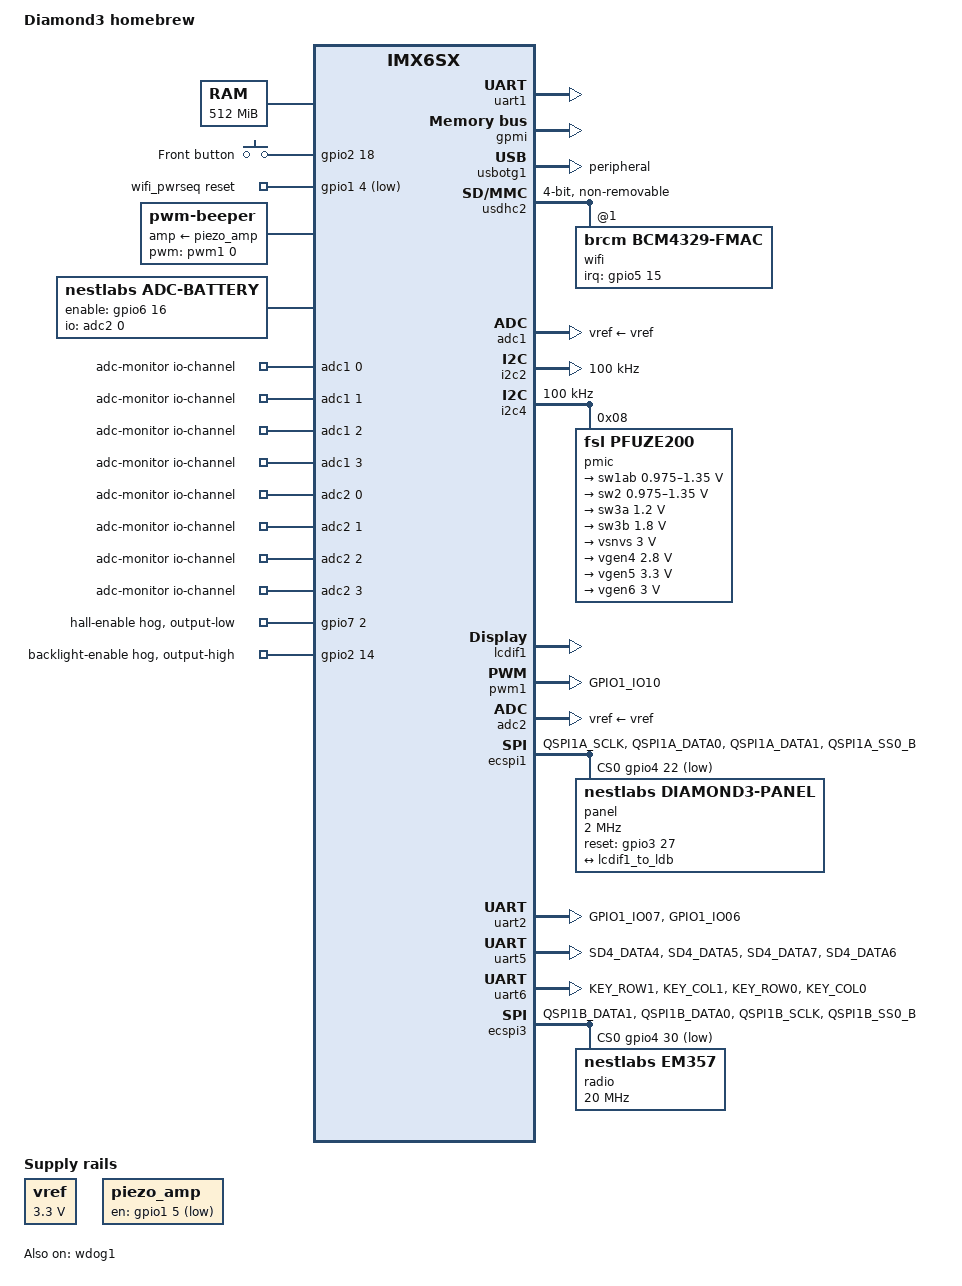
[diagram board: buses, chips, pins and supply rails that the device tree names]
/dts-v1/;
#include "nxp/imx/imx6sx.dtsi"
/ {
 model = "Diamond3 homebrew";
 compatible = "nestlabs,diamond3-dvt", "fsl,imx6sx";
 memory@80000000 { device_type = "memory"; reg = <0x80000000 0x20000000>; };
 chosen { stdout-path = &uart1; };
};
&uart1 { status = "okay"; };
&gpmi { status = "okay"; nand-on-flash-bbt; };
&usbotg1 { dr_mode = "peripheral"; status = "okay"; };

&iomuxc {
 pin_uart1: uart1-grp { fsl,pins = <0x94 0x3dc 0x830 0x03 0x02 0x1b0b1 0x98 0x3e0 0x00 0x03 0x00 0x1b0b1>; };
 pin_sdio: sdio-grp { fsl,pins = <0x23c 0x584 0x00 0x00 0x00 0x17059 0x238 0x580 0x00 0x00 0x00 0x10059 0x240 0x588 0x00 0x00 0x00 0x17059 0x244 0x58c 0x00 0x00 0x00 0x17059 0x248 0x590 0x00 0x00 0x00 0x17059 0x24c 0x594 0x00 0x00 0x00 0x17059>; };
 pin_i2c2: i2c2-grp { fsl,pins = <0x20 0x368 0x7b4 0x00 0x01 0x4001b8b1 0x1c 0x364 0x7b0 0x00 0x01 0x4001b8b1>; };
 pin_i2c4: i2c4-grp { fsl,pins = <0x2a4 0x5ec 0x7c4 0x03 0x01 0x4001b8b1 0x2a8 0x5f0 0x7c0 0x03 0x01 0x4001b8b1>; };
 pin_lcddata: lcddata-grp { fsl,pins = <0xd0 0x418 0x00 0x00 0x00 0x4001b0b0 0xd4 0x41c 0x00 0x00 0x00 0x4001b0b0 0xd8 0x420 0x00 0x00 0x00 0x4001b0b0 0xdc 0x424 0x00 0x00 0x00 0x4001b0b0 0xe0 0x428 0x00 0x00 0x00 0x4001b0b0 0xe4 0x42c 0x00 0x00 0x00 0x4001b0b0 0xe8 0x430 0x00 0x00 0x00 0x4001b0b0 0xec 0x434 0x00 0x00 0x00 0x4001b0b0 0xf0 0x438 0x00 0x00 0x00 0x4001b0b0 0xf4 0x43c 0x00 0x00 0x00 0x4001b0b0 0xf8 0x440 0x00 0x00 0x00 0x4001b0b0 0xfc 0x444 0x00 0x00 0x00 0x4001b0b0 0x100 0x448 0x00 0x00 0x00 0x4001b0b0 0x104 0x44c 0x00 0x00 0x00 0x4001b0b0 0x108 0x450 0x00 0x00 0x00 0x4001b0b0 0x10c 0x454 0x00 0x00 0x00 0x4001b0b0 0x110 0x458 0x00 0x00 0x00 0x4001b0b0 0x114 0x45c 0x00 0x00 0x00 0x4001b0b0 0x118 0x460 0x00 0x00 0x00 0x4001b0b0 0x11c 0x464 0x00 0x00 0x00 0x4001b0b0 0x120 0x468 0x00 0x00 0x00 0x4001b0b0 0x124 0x46c 0x00 0x00 0x00 0x4001b0b0 0x128 0x470 0x00 0x00 0x00 0x4001b0b0 0x12c 0x474 0x00 0x00 0x00 0x4001b0b0>; };
 pin_lcdctrl: lcdctrl-grp { fsl,pins = <0xcc 0x414 0x00 0x00 0x00 0x4001b0b0 0x130 0x478 0x00 0x00 0x00 0x4001b0b0 0x13c 0x484 0x00 0x00 0x00 0x4001b0b0 0x134 0x47c 0x7e0 0x00 0x00 0x4001b0b0 0x138 0x480 0x00 0x05 0x00 0x1b0b0>; };
};

&uart1 { pinctrl-names = "default"; pinctrl-0 = <&pin_uart1>; };
/ {
 keys { compatible = "gpio-keys";
  front { label = "Front button"; gpios = <&gpio2 18 0>; linux,code = <28>; };
 };
 wifi_pwrseq: wifi-pwrseq { compatible = "mmc-pwrseq-simple"; reset-gpios = <&gpio1 4 1>; post-power-on-delay-ms = <200>; };
 vref: regulator-vref { compatible = "regulator-fixed"; regulator-name = "adc-vref"; regulator-min-microvolt = <3300000>; regulator-max-microvolt = <3300000>; regulator-always-on; };

};
&usdhc2 { pinctrl-names = "default"; pinctrl-0 = <&pin_sdio>; bus-width = <4>; non-removable; mmc-pwrseq = <&wifi_pwrseq>; status = "okay";
 #address-cells = <1>; #size-cells = <0>;
 wifi@1 { reg = <1>; compatible = "brcm,bcm4329-fmac"; interrupt-parent = <&gpio5>; interrupts = <15 4>; interrupt-names = "host-wake"; };
};
&adc1 { vref-supply = <&vref>; status = "okay"; };
&gpio7 { hall-enable { gpio-hog; gpios = <2 0>; output-low; line-name = "hall-enable"; }; };
&i2c2 { pinctrl-names = "default"; pinctrl-0 = <&pin_i2c2>; clock-frequency = <100000>; status = "okay"; };
&i2c4 { pinctrl-names = "default"; pinctrl-0 = <&pin_i2c4>; clock-frequency = <100000>; status = "okay";
 pmic@8 { compatible = "fsl,pfuze200"; reg = <8>;
  regulators {
   sw1ab { regulator-min-microvolt = <975000>; regulator-max-microvolt = <1350000>;
    regulator-boot-on; regulator-always-on; regulator-ramp-delay = <6250>; };
   sw2 { regulator-min-microvolt = <975000>; regulator-max-microvolt = <1350000>;
    regulator-boot-on; regulator-always-on; regulator-ramp-delay = <6250>; };
   sw3a { regulator-min-microvolt = <1200000>; regulator-max-microvolt = <1200000>;
    regulator-boot-on; regulator-always-on; };
   sw3b { regulator-min-microvolt = <1800000>; regulator-max-microvolt = <1800000>;
    regulator-boot-on; regulator-always-on; };
   vsnvs { regulator-min-microvolt = <3000000>; regulator-max-microvolt = <3000000>;
    regulator-boot-on; regulator-always-on; };
   vrefddr { regulator-boot-on; regulator-always-on; };
   vgen4 { regulator-min-microvolt = <2800000>; regulator-max-microvolt = <2800000>;
    regulator-always-on; };
   vgen5 { regulator-min-microvolt = <3300000>; regulator-max-microvolt = <3300000>;
    regulator-always-on; };
   vgen6 { regulator-min-microvolt = <3000000>; regulator-max-microvolt = <3000000>;
    regulator-always-on; };
  };
 };
};
&lcdif1 { pinctrl-names = "default"; pinctrl-0 = <&pin_lcddata &pin_lcdctrl>; status = "okay"; };
&lcdif1_to_ldb { remote-endpoint = <&panel_in>; };
&gpmi {
 fsl,legacy-bch-geometry;
 partitions { compatible = "fixed-partitions"; #address-cells = <1>; #size-cells = <1>;
  partition@0 { label = "u-boot"; reg = <0 0x400000>; read-only; };
  partition@400000 { label = "ubipart"; reg = <0x400000 0x1fc00000>; };
 };
};

&iomuxc {
 pin_panel: panel-grp { fsl,pins = <
  MX6SX_PAD_QSPI1A_SCLK__ECSPI1_SCLK 0x100b1
  MX6SX_PAD_QSPI1A_DATA0__ECSPI1_MOSI 0x100b1
  MX6SX_PAD_QSPI1A_DATA1__ECSPI1_MISO 0x100b1
  MX6SX_PAD_QSPI1A_SS0_B__GPIO4_IO_22 0x100b1
 >; };
};
&gpio2 { backlight-enable { gpio-hog; gpios = <14 0>; output-high; line-name = "backlight-enable"; }; };
&iomuxc {
 pinctrl-names = "default";
 pinctrl-0 = <&pin_board>;
 pin_board: board-grp { fsl,pins = <
  MX6SX_PAD_KEY_COL4__GPIO2_IO_14 0x1b0b0
  MX6SX_PAD_KEY_ROW3__GPIO2_IO_18 0x1b0b0
  MX6SX_PAD_GPIO1_IO04__GPIO1_IO_4 0x1b0b0
  MX6SX_PAD_SD3_DATA0__GPIO7_IO_2 0x1b0b0
 >; };
};
&wdog1 { status = "okay"; };
/ {
 piezo_amp: regulator-piezo {
  compatible = "regulator-fixed";
  regulator-name = "piezo-amplifier";
  gpio = <&gpio1 5 GPIO_ACTIVE_LOW>;
  pinctrl-names = "default";
  pinctrl-0 = <&pin_piezo_enable>;
 };
 beeper {
  compatible = "pwm-beeper";
  pwms = <&pwm1 0 1000000 0>;
  amp-supply = <&piezo_amp>;
  beeper-hz = <2000>;
 };
};
&pwm1 { pinctrl-names = "default"; pinctrl-0 = <&pin_piezo_pwm>; status = "okay"; };
&iomuxc {
 pin_piezo_enable: piezo-enable-grp { fsl,pins = <MX6SX_PAD_GPIO1_IO05__GPIO1_IO_5 0x110b0>; };
 pin_piezo_pwm: piezo-pwm-grp { fsl,pins = <MX6SX_PAD_GPIO1_IO10__PWM1_OUT 0x110b0>; };
};

&adc2 { vref-supply = <&vref>; status = "okay"; };
/ {
 battery {
  compatible = "nestlabs,adc-battery";
  io-channels = <&adc2 0>; io-channel-names = "voltage";
  divider-r1-ohm = <100000>; divider-r2-ohm = <301000>;
  enable-gpios = <&gpio6 16 GPIO_ACTIVE_HIGH>; delay-us = <100>;
  pinctrl-names = "default"; pinctrl-0 = <&pin_battery_adc>;
 };
 adc-monitor { compatible = "iio-hwmon";
  io-channels = <&adc1 0>, <&adc1 1>, <&adc1 2>, <&adc1 3>,
                <&adc2 0>, <&adc2 1>, <&adc2 2>, <&adc2 3>;
 };
};
&iomuxc {
 pin_battery_adc: battery-adc-grp { fsl,pins = <MX6SX_PAD_SD4_DATA2__GPIO6_IO_16 0x1b0b0>; };
};

&ecspi1 {
 status = "okay"; pinctrl-names = "default"; pinctrl-0 = <&pin_panel>;
 cs-gpios = <&gpio4 22 GPIO_ACTIVE_LOW>;
 /delete-property/ dmas; /delete-property/ dma-names;
 panel@0 { reg = <0>; spi-max-frequency = <2000000>; spi-cpol; spi-cpha; compatible = "nestlabs,diamond3-panel";
  nestlabs,panel-variant = <0>;
  reset-gpios = <&gpio3 27 0>;
  width-mm = <32>; height-mm = <43>;
  panel-timing { clock-frequency = <19700016>; hactive = <480>; vactive = <640>; hback-porch = <6>; hfront-porch = <6>; vback-porch = <6>; vfront-porch = <6>; hsync-len = <10>; vsync-len = <2>; hsync-active = <0>; vsync-active = <0>; de-active = <1>; pixelclk-active = <1>; };
  port { panel_in: endpoint { remote-endpoint = <&lcdif1_to_ldb>; }; };
 };
};

&uart2 {
 status = "okay"; pinctrl-names = "default"; pinctrl-0 = <&pin_uart2>;
 /delete-property/ dmas; /delete-property/ dma-names;
};
&uart5 {
 status = "okay"; pinctrl-names = "default"; pinctrl-0 = <&pin_uart5>; uart-has-rtscts;
 /delete-property/ dmas; /delete-property/ dma-names;
};
&uart6 {
 status = "okay"; pinctrl-names = "default"; pinctrl-0 = <&pin_uart6>;
 /delete-property/ dmas; /delete-property/ dma-names;
};
&ecspi3 {
 status = "okay"; pinctrl-names = "default"; pinctrl-0 = <&pin_ecspi3>;
 cs-gpios = <&gpio4 30 GPIO_ACTIVE_LOW>;
 /delete-property/ dmas; /delete-property/ dma-names;
 radio@0 { compatible = "nestlabs,em357"; reg = <0>; spi-max-frequency = <20000000>; };
};
/ {
 aliases { serial-sensormcu0 = &uart6; serial-ble0 = &uart5; };
 em35x-gpios {
  compatible = "nestlabs,gpio-exporter";
  output-names = "reset", "wake";
  output-gpios = <&gpio2 0 GPIO_ACTIVE_HIGH>, <&gpio2 5 GPIO_ACTIVE_HIGH>;
  input-names = "irq"; input-gpios = <&gpio2 4 GPIO_ACTIVE_HIGH>;
  pinctrl-names = "default"; pinctrl-0 = <&pin_radio_io>;
 };
 ble0-da14580-gpios {
  compatible = "nestlabs,gpio-exporter";
  output-names = "reset"; output-gpios = <&gpio5 16 GPIO_ACTIVE_HIGH>;
  pinctrl-names = "default"; pinctrl-0 = <&pin_ble_io>;
 };
 sensor-mcu-gpios {
  compatible = "nestlabs,gpio-exporter";
  output-names = "reset"; output-gpios = <&gpio5 14 GPIO_ACTIVE_HIGH>;
  input-names = "detect#"; input-gpios = <&gpio5 13 GPIO_ACTIVE_LOW>;
  pinctrl-names = "default"; pinctrl-0 = <&pin_backplate_io>;
 };
};
&iomuxc {
 pin_uart2: uart2-grp { fsl,pins = <
  MX6SX_PAD_GPIO1_IO07__UART2_DCE_RX 0x1b0b1
  MX6SX_PAD_GPIO1_IO06__UART2_DCE_TX 0x1b0b1
 >; };
 pin_uart5: uart5-grp { fsl,pins = <
  MX6SX_PAD_SD4_DATA4__UART5_DCE_RX 0x1b0b1
  MX6SX_PAD_SD4_DATA5__UART5_DCE_TX 0x1b0b1
  MX6SX_PAD_SD4_DATA7__UART5_DCE_CTS 0x1a0b1
  MX6SX_PAD_SD4_DATA6__UART5_DCE_RTS 0x1a0b1
 >; };
 pin_uart6: uart6-grp { fsl,pins = <
  MX6SX_PAD_KEY_ROW1__UART6_DCE_RX 0x1b0b1
  MX6SX_PAD_KEY_COL1__UART6_DCE_TX 0x1b0b1
  MX6SX_PAD_KEY_ROW0__UART6_DCE_CTS 0x1b0b1
  MX6SX_PAD_KEY_COL0__UART6_DCE_RTS 0x1b0b1
 >; };
 pin_ecspi3: ecspi3-grp { fsl,pins = <
  MX6SX_PAD_QSPI1B_DATA1__ECSPI3_MISO 0x100b1
  MX6SX_PAD_QSPI1B_DATA0__ECSPI3_MOSI 0x100b1
  MX6SX_PAD_QSPI1B_SCLK__ECSPI3_SCLK 0x100b1
  MX6SX_PAD_QSPI1B_SS0_B__GPIO4_IO_30 0xc0000000
 >; };
 pin_radio_io: radio-io-grp { fsl,pins = <
  MX6SX_PAD_ENET1_COL__GPIO2_IO_0 0xc0000000
  MX6SX_PAD_ENET1_RX_CLK__GPIO2_IO_4 0xc0000000
  MX6SX_PAD_ENET1_TX_CLK__GPIO2_IO_5 0xc0000000
 >; };
 pin_ble_io: ble-io-grp { fsl,pins = <MX6SX_PAD_RGMII2_RX_CTL__GPIO5_IO_16 0xc0000000>; };
 pin_backplate_io: backplate-io-grp { fsl,pins = <
  MX6SX_PAD_RGMII2_RD1__GPIO5_IO_13 0xc0000000
  MX6SX_PAD_RGMII2_RD2__GPIO5_IO_14 0xc0000000
 >; };
};

&adc1 { #io-channel-cells = <1>; };
&adc2 { #io-channel-cells = <1>; };
